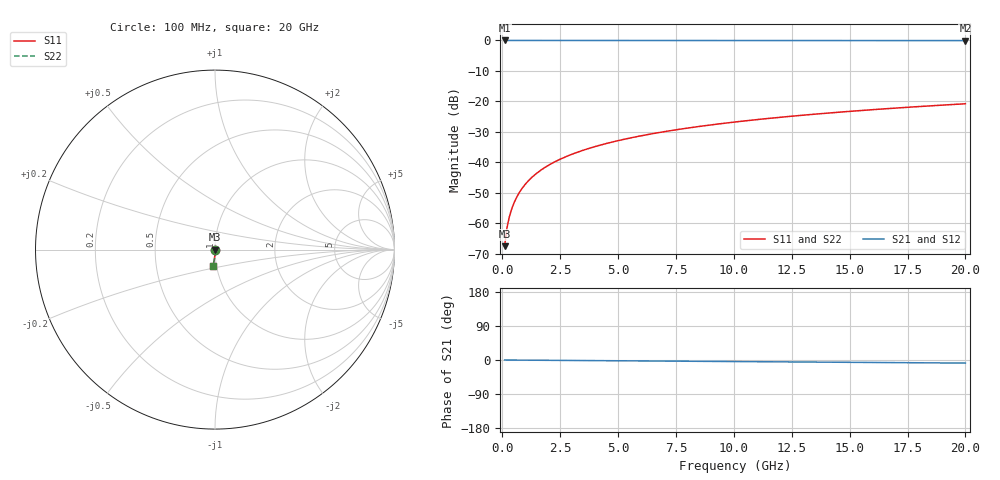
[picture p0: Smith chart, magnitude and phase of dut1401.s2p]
! Touchstone file exported from HFSS 2026.1.0
!  File:  C:/ffzhzh/LocalFiles/Ansys_Project_Files/temp_train_TSV_1401_1783196851_43440.aedt
!  Generated:  04:28:46 AM Jul  5, 2026
!  Design:  TSV
!  Project:  temp_train_TSV_1401_1783196851_43440
! Variables:
!  h_bsmrdl = 2um
!  h_ox = 20um
!  h_rdl = 5um
!  h_sub = 65.87um
!  h_tmrdl = 5um
!  h_tsv = 65.87um
!  h_via = 3um
!  l_bsmrdl = 300um
!  l_sub = 425.5um
!  l_tmrdl = 200um
!  m_sub = 200um
!  pitch = 30.51um
!  r_tsv = 12.75um
!  s_tmrdl = 10um
!  w_bsmrdl = 18um
!  w_sub = 500um
!  w_tmrdl = 12um
!  x_tsv_center1 = 206um
!  x_tsv_center2 = 524um
!  x_tsv_center3 = 736um
!  x_tsv_center4 = 1054um
!  x_tsv_center5 = 1266um
!  x_tsv_center6 = 1584um
# GHz S MA R 50.000000
! Terminal data exported
! Port[1] = TSV1_1_T1
! Port[2] = TSV1_1_T2
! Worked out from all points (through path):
!   200 points, 100 MHz to 20 GHz, reference 50 ohm
!   highest |S21| = 0.00 dB at 100 MHz (marker M1); lowest = 0.0 dB at 20 GHz (marker M2)
!   group delay of S21, straight-line fit = 1.13 ps
!   lowest |S11| = -67.6 dB at 100 MHz (marker M3), VSWR 1.00, Z = 50 - j0.0409 ohm
!   |S11| at or under -10 dB: start of sweep to end of sweep
!   |S22| runs from -67.6 to -20.8 dB; largest |S21 - S12| = 1.4e-15
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0.1  0.0004192 -77.5  0.9999 -0.0  0.9999 -0.0  0.0004192 -77.5
! Gamma 0 0 0 0
! Port Impedance 50 0 50 0
0.2  0.0008306 -82.6  0.9999 -0.1  0.9999 -0.1  0.0008306 -82.6
0.3  0.001253 -84.0  0.9999 -0.1  0.9999 -0.1  0.001253 -84.0
0.4  0.001685 -84.7  0.9998 -0.2  0.9998 -0.2  0.001685 -84.7
0.5  0.002125 -85.1  0.9998 -0.2  0.9998 -0.2  0.002125 -85.1
0.7  0.003021 -85.7  0.9998 -0.3  0.9998 -0.3  0.003021 -85.7
0.8  0.003474 -86.0  0.9997 -0.3  0.9997 -0.3  0.003474 -86.0
1  0.004384 -86.6  0.9997 -0.4  0.9997 -0.4  0.004384 -86.6
1.2  0.005297 -87.0  0.9997 -0.5  0.9997 -0.5  0.005297 -87.0
1.4  0.006209 -87.4  0.9996 -0.6  0.9996 -0.6  0.006209 -87.4
1.7  0.007578 -87.9  0.9996 -0.7  0.9996 -0.7  0.007578 -87.9
2  0.008945 -88.3  0.9996 -0.8  0.9996 -0.8  0.008945 -88.3
2.7  0.01214 -89.0  0.9995 -1.1  0.9995 -1.1  0.01214 -89.0
3.5  0.01579 -89.6  0.9994 -1.4  0.9994 -1.4  0.01579 -89.6
4.2  0.01899 -90.1  0.9993 -1.7  0.9993 -1.7  0.01899 -90.1
5  0.02265 -90.5  0.9991 -2.1  0.9991 -2.1  0.02265 -90.5
6.8  0.03091 -91.4  0.9988 -2.8  0.9988 -2.8  0.03091 -91.4
8.3  0.0378 -92.2  0.9985 -3.4  0.9985 -3.4  0.0378 -92.2
10.1  0.04607 -93.0  0.998 -4.1  0.998 -4.1  0.04607 -93.0
13.4  0.0612 -94.5  0.9971 -5.5  0.9971 -5.5  0.0612 -94.5
16.7  0.07629 -95.9  0.9959 -6.8  0.9959 -6.8  0.07629 -95.9
20  0.09131 -97.3  0.9945 -8.1  0.9945 -8.1  0.09131 -97.3
